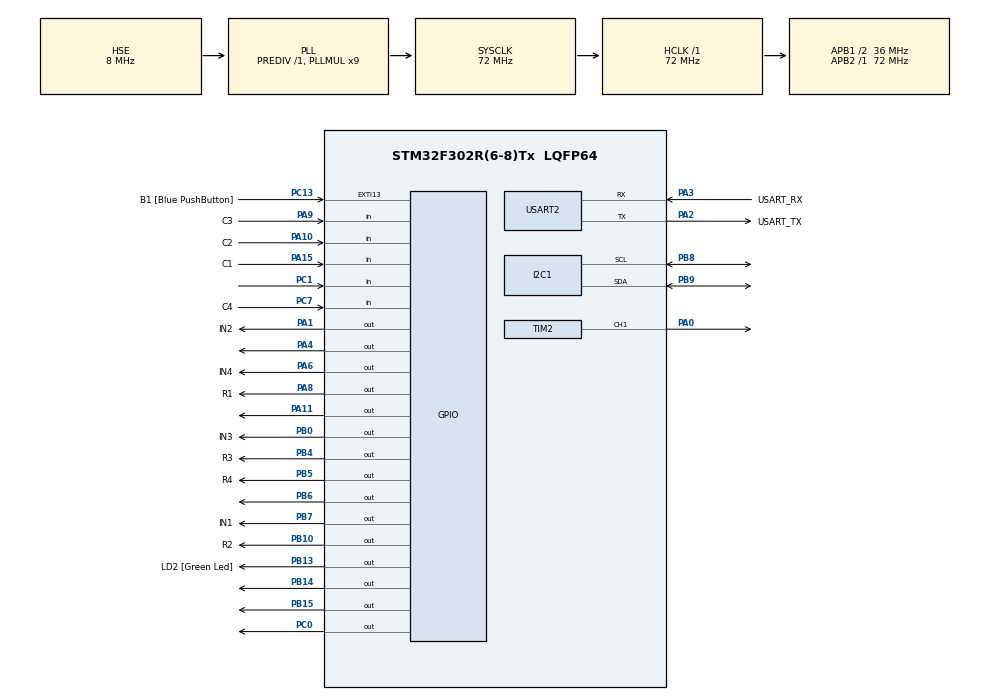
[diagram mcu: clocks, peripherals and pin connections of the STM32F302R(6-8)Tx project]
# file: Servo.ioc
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Mcu.Family=STM32F3
Mcu.Name=STM32F302R(6-8)Tx
Mcu.Package=LQFP64
NVIC.PriorityGroup=NVIC_PRIORITYGROUP_0
NVIC.TIM1_BRK_TIM15_IRQn=true\:0\:0\:false\:false\:true\:true\:true\:true
NVIC.TIM1_UP_TIM16_IRQn=true\:0\:0\:false\:false\:true\:true\:true\:true
NVIC.TIM2_IRQn=true\:0\:0\:false\:false\:true\:true\:true\:true
PA0.Signal=S_TIM2_CH1_ETR
PA1.GPIO_Label=IN2
PA1.Signal=GPIO_Output
PA10.GPIO_Label=C2
PA10.GPIO_PuPd=GPIO_PULLUP
PA10.Signal=GPIO_Input
PA11.Signal=GPIO_Output
PA13.GPIO_Label=TMS
PA13.Mode=Serial_Wire
PA13.Signal=SYS_JTMS-SWDIO
PA14.GPIO_Label=TCK
PA14.Mode=Serial_Wire
PA14.Signal=SYS_JTCK-SWCLK
PA15.GPIO_Label=C1
PA15.GPIO_PuPd=GPIO_PULLUP
PA15.Signal=GPIO_Input
PA2.GPIO_Label=USART_TX
PA2.GPIO_Mode=GPIO_MODE_AF_PP
PA2.GPIO_PuPd=GPIO_NOPULL
PA2.GPIO_Speed=GPIO_SPEED_FREQ_LOW
PA2.Mode=Asynchronous
PA2.Signal=USART2_TX
PA3.GPIO_Label=USART_RX
PA3.GPIO_Mode=GPIO_MODE_AF_PP
PA3.GPIO_PuPd=GPIO_NOPULL
PA3.GPIO_Speed=GPIO_SPEED_FREQ_LOW
PA3.Mode=Asynchronous
PA3.Signal=USART2_RX
PA4.Signal=GPIO_Output
PA6.GPIO_Label=IN4
PA6.Signal=GPIO_Output
PA8.GPIO_Label=R1
PA8.Signal=GPIO_Output
PA9.GPIO_Label=C3
PA9.GPIO_PuPd=GPIO_PULLUP
PA9.Signal=GPIO_Input
PB0.GPIO_Label=IN3
PB0.Signal=GPIO_Output
PB10.GPIO_Label=R2
PB10.Signal=GPIO_Output
PB13.GPIO_Label=LD2 [Green Led]
PB13.Signal=GPIO_Output
PB14.Signal=GPIO_Output
PB15.Signal=GPIO_Output
PB3.GPIO_Label=SWO
PB3.Mode=Trace_Asynchronous_SW
PB3.Signal=SYS_JTDO-TRACESWO
PB4.GPIO_Label=R3
PB4.Signal=GPIO_Output
PB5.GPIO_Label=R4
PB5.Signal=GPIO_Output
PB6.Signal=GPIO_Output
PB7.GPIO_Label=IN1
PB7.Signal=GPIO_Output
PB8.Mode=I2C
PB8.Signal=I2C1_SCL
PB9.Mode=I2C
PB9.Signal=I2C1_SDA
PC0.Signal=GPIO_Output
PC1.Signal=GPIO_Input
PC13.GPIO_Label=B1 [Blue PushButton]
PC13.GPIO_ModeDefaultEXTI=GPIO_MODE_IT_FALLING
PC13.Signal=GPXTI13
PC14\ -\ OSC32_IN.Mode=LSE-External-Oscillator
PC14\ -\ OSC32_IN.Signal=RCC_OSC32_IN
PC15\ -\ OSC32_OUT.Mode=LSE-External-Oscillator
PC15\ -\ OSC32_OUT.Signal=RCC_OSC32_OUT
PC7.GPIO_Label=C4
PC7.GPIO_PuPd=GPIO_PULLUP
PC7.Signal=GPIO_Input
PF0-OSC_IN.Mode=HSE-External-Clock-Source
PF0-OSC_IN.Signal=RCC_OSC_IN
PF1-OSC_OUT.Signal=RCC_OSC_OUT
ProjectManager.HeapSize=0x200
ProjectManager.StackSize=0x400
ProjectManager.TargetToolchain=STM32CubeIDE
RCC.AHBFreq_Value=72000000
RCC.APB1CLKDivider=RCC_HCLK_DIV2
RCC.APB1Freq_Value=36000000
RCC.APB1TimFreq_Value=72000000
RCC.APB2Freq_Value=72000000
RCC.APB2TimFreq_Value=72000000
RCC.CortexFreq_Value=72000000
RCC.HCLKFreq_Value=72000000
RCC.HSE_VALUE=8000000
RCC.HSI_VALUE=8000000
RCC.PLLM=8
RCC.PLLMUL=RCC_PLL_MUL9
RCC.PLLN=336
RCC.PLLP=RCC_PLLP_DIV4
RCC.PLLQ=7
RCC.PLLSourceVirtual=RCC_PLLSOURCE_HSE
RCC.SYSCLKFreq_VALUE=72000000
RCC.SYSCLKSourceVirtual=RCC_SYSCLKSOURCE_PLLCLK
RCC.USBFreq_Value=72000000
SH.S_TIM2_CH1_ETR.0=TIM2_CH1,PWM Generation1 CH1
TIM1.Prescaler=71
TIM15.Period=7000
TIM15.Prescaler=72-1
TIM2.Channel-PWM\ Generation1\ CH1=TIM_CHANNEL_1
TIM2.Period=20000
TIM2.Prescaler=72-1
TIM2.Pulse-PWM\ Generation1\ CH1=500
USART2.VirtualMode-Asynchronous=VM_ASYNC
VP_TIM15_VS_ClockSourceINT.Mode=Internal
VP_TIM1_VS_ClockSourceINT.Mode=Internal
VP_TIM2_VS_ClockSourceINT.Mode=Internal
board=NUCLEO-F302R8

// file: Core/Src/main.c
/* USER CODE BEGIN Header */
/**
 ******************************************************************************
 * @file           : main.c
 * @brief          : Main program body
 ******************************************************************************
 * @attention
 *
 * Copyright (c) 2023 STMicroelectronics.
 * All rights reserved.
 *
 * This software is licensed under terms that can be found in the LICENSE file
 * in the root directory of this software component.
 * If no LICENSE file comes with this software, it is provided AS-IS.
 *
 ******************************************************************************
 */
/*****************************************
 *  Nombre: Angel Gabrir Segura V.        *
 *                                        *
 *  Matricula: 2021-0311                  *
 *                                        *
 *  Primer parcial                       *
 *                                        */
/* USER CODE END Header */
#include "main.h"

/* USER CODE BEGIN Includes */
#include "i2c-lcd.h"
#include "max_matrix_stm32.h"
#include "keypad_4x4.h"
#include "stdio.h"
#include "stdlib.h"
#include "StepMotor.h"
#include "Servo.h"

/* USER CODE END Includes */

/* USER CODE BEGIN PTD */
//#define SERVO_TIMER &htim2
//#define SERVO_CHANNEL TIM_CHANNEL_1
/* USER CODE END PTD */

I2C_HandleTypeDef hi2c1;

TIM_HandleTypeDef htim1;
TIM_HandleTypeDef htim2;
TIM_HandleTypeDef htim15;

UART_HandleTypeDef huart2;

/* USER CODE BEGIN PV */
volatile uint32_t periodCount = 0; //////////////
//uint32_t servoDelay = 0; ///////////////////////
uint32_t stepperDelay = 0; /////////////////////

char key;
char keypad;
#define TRIG_PIN GPIO_PIN_0
#define TRIG_PORT GPIOC
#define ECHO_PIN GPIO_PIN_1
#define ECHO_PORT GPIOC
uint32_t pMillis;
uint32_t Value1 = 0;
uint32_t Value2 = 0;
uint16_t Distance = 0;  // cm
char strCopy[15];
uint8_t change = 0;
/* USER CODE END PV */

void SystemClock_Config(void);
static void MX_GPIO_Init(void);
static void MX_USART2_UART_Init(void);
static void MX_I2C1_Init(void);
static void MX_TIM1_Init(void);
static void MX_TIM2_Init(void);
static void MX_TIM15_Init(void);

/* USER CODE BEGIN 0 */
void delay(uint16_t us) {
	__HAL_TIM_SET_COUNTER(&htim1, 0);

	while (__HAL_TIM_GET_COUNTER(&htim1) < us)
		;
}

#define stepsperrev 4096

void HAL_TIM_PeriodElapsedCallback(TIM_HandleTypeDef *htim) {
	if (htim->Instance == TIM1) {

		HAL_GPIO_TogglePin(GPIOB, GPIO_PIN_13);

	}

	if (htim->Instance == TIM1) {

			HAL_GPIO_TogglePin(GPIOA, GPIO_PIN_4);

		}
	if (htim->Instance == TIM15) {

			HAL_GPIO_TogglePin(GPIOA, GPIO_PIN_11);

		}

}
/* USER CODE END 0 */

int main(void)
{

  /* MCU Configuration--------------------------------------------------------*/

  /* Reset of all peripherals, Initializes the Flash interface and the Systick. */
  HAL_Init();

  /* USER CODE BEGIN Init */
	//Servo servo;
  /* USER CODE END Init */

  /* Configure the system clock */
  SystemClock_Config();

  /* Initialize all configured peripherals */
  MX_GPIO_Init();
  MX_USART2_UART_Init();
  MX_I2C1_Init();
  MX_TIM1_Init();
  MX_TIM2_Init();
  MX_TIM15_Init();
  /* USER CODE BEGIN 2 */
	HAL_TIM_PWM_Start(&htim2, TIM_CHANNEL_1);
	//HAL_TIM_Base_Start(&htim1);
	HAL_TIM_Base_Start_IT(&htim2);
	HAL_TIM_Base_Start_IT(&htim15);
	HAL_TIM_Base_Start_IT(&htim1);
	HAL_GPIO_WritePin(TRIG_PORT, TRIG_PIN, GPIO_PIN_RESET); // pull the TRIG pin low
	lcd_init();
	max_init(0x02);
	//Servo_Init(&servo, &htim2, TIM_CHANNEL_1);
  /* USER CODE END 2 */

  /* Infinite loop */
  /* USER CODE BEGIN WHILE */

	write_char(2, 1);
	lcd_put_cur(0, 0);
	lcd_send_string("---BIENVENIDO---");
	HAL_Delay(2000);
	max_clear();
	lcd_clear();
	write_char(63, 1);
	lcd_put_cur(0, 0);
	lcd_send_string("  SEL. OPCION  ");
	lcd_put_cur(1, 0);
	lcd_send_string("   SIGUIENTE   ");
	HAL_Delay(2000);
	lcd_clear();
	max_clear();
	lcd_put_cur(0, 0);
	lcd_send_string("  (A)SENSOR   ");
	lcd_put_cur(1, 0);
	lcd_send_string("(B)SERVO (C)M.PP");
	scroll_string((uint8_t*) "A B C  ", 100, left);

	while (1) {

		char keypad_key = Keypad_Get_Char();
		if (keypad_key == 'A') {
			lcd_clear();
			max_clear();
			write_char(65, 1);
			HAL_Delay(200);
			while (keypad_key == 'A') {
				HAL_GPIO_WritePin(TRIG_PORT, TRIG_PIN, GPIO_PIN_SET); // pull the TRIG pin HIGH
				__HAL_TIM_SET_COUNTER(&htim1, 0);
				while (__HAL_TIM_GET_COUNTER (&htim1) < 10)
					; // wait for 10 us
				HAL_GPIO_WritePin(TRIG_PORT, TRIG_PIN, GPIO_PIN_RESET); // pull the TRIG pin low

				pMillis = HAL_GetTick(); // used this to avoid infinite while loop  (for timeout)
				//wait for the echo pin to go high
				while (!(HAL_GPIO_ReadPin(ECHO_PORT, ECHO_PIN))
						&& pMillis + 10 > HAL_GetTick())
					;
				Value1 = __HAL_TIM_GET_COUNTER(&htim1);

				pMillis = HAL_GetTick();// used this to avoid infinite while loop (for timeout)
				// wait for the echo pin to go low
				while ((HAL_GPIO_ReadPin(ECHO_PORT, ECHO_PIN))
						&& pMillis + 50 > HAL_GetTick())
					;

				Value2 = __HAL_TIM_GET_COUNTER(&htim1);

				lcd_put_cur(0, 0);
				lcd_send_string("Dist= ");
				Distance = (Value2 - Value1) * 0.034 / 2;

				lcd_send_string("Dist= ");
				Distance = (Value2 - Value1) * 0.034 / 2;
				// Limpia el espacio para la distancia
				lcd_put_cur(0, 6);// Establece el cursor en la columna 7, fila 0
				lcd_send_data(' ');					// Borra el espacio anterior

				// Muestra los dígitos de la distancia en el lugar deseado
				lcd_put_cur(0, 6);// Establece el cursor en la columna 7, fila 0
				lcd_send_data((Distance / 100) + 48);				// 100th pos
				lcd_send_data(((Distance / 10) % 10) + 48);			// 10th pos
				lcd_send_data((Distance % 10) + 48);				// 1st pos
				lcd_send_string(" cm");
				//HAL_Delay(800);

				key = Distance;
				char keyString[5];// Variable para almacenar el valor de key como cadena de caracteres
				static int previousKey = 0;	// Variable para almacenar el valor anterior de key
				//uint8_t change = 0;

				if (key < previousKey) {
					change = 0;
					//stepper_step_angle(90, change, 13);
					write_char(26, 1);
					HAL_Delay(500);
					max_clear();
					//lcd_put_cur(1, 0);
					//lcd_send_string("Disminuye");
					//HAL_Delay(1000);
				} else if (key > previousKey) {
					change = 1;
					//stepper_step_angle(90, change, 13);
					write_char(27, 1);
					HAL_Delay(500);
					max_clear();
					//lcd_put_cur(1, 0);
					//lcd_send_string("Aumenta");
					//HAL_Delay(1000);
				}
				static int currentAngle = 0; // Variable para almacenar la posición actual del stepper

					if (Distance != currentAngle) {
						int stepsToMove = abs(Distance - currentAngle);
						stepperDelay = stepsToMove;
						stepper_step_angle(stepsToMove, change, 13);
						currentAngle = Distance;

					}
					int mov = Distance * 3;
					htim2.Instance->CCR1 = 500 + (mov * 11.11111);

				snprintf(keyString, sizeof(keyString), "%d", key); // Convierte el valor de key a una cadena de caracteres
				lcd_clear(); // Borra la pantalla
				lcd_send_string(keyString); // Muestra el valor de key en la pantalla
				previousKey = key; // Actualiza el valor anterior de key

				if (Keypad_Get_Char() == '#') {
					lcd_clear();
					max_clear();
					break; // Exit the while loop and go back to the beginning
				}
			}
			lcd_put_cur(0, 0);
			lcd_send_string("  (A)SENSOR   ");
			lcd_put_cur(1, 0);
			lcd_send_string("(B)SERVO (C)M.PP");
		} else if (keypad_key == 'B') {
			lcd_clear();
			max_clear();
			write_char(66, 1);
			HAL_Delay(200);
			while (keypad_key == 'B') {
				lcd_put_cur(0, 0);
				lcd_send_string("---INT. ANGULO--");
				lcd_put_cur(1, 0);
				lcd_send_string("GRADOS:");
				write_char(132, 1);

				char digits[4]; // Variable para almacenar los dígitos ingresados (3 dígitos + el carácter nulo)
				int digitCount = 0; // Contador de dígitos

				while (digitCount < 3) {
					keypad = Keypad_Get_Char();

					if (keypad >= '0' && keypad <= '9') {
						digits[digitCount] = keypad;
						digitCount++;
						lcd_send_data(keypad);
					}

					// Si se presiona el botón 'D', se borra la pantalla LCD y se establece el ángulo del servo en 0 grados
					if (keypad == 'D') {
						lcd_clear();
						htim2.Instance->CCR1 = 500;  // 0.5ms = 0 grados
						break;
					}

					// Si se presiona el botón '#', se sale de la selección y vuelve al inicio
					if (keypad == '#') {
						lcd_clear();
						keypad_key = ' '; // Reiniciar la opción seleccionada para volver al inicio
						max_clear();
						break;

					}

				}

				if (digitCount == 3) {
					digits[digitCount] = '\0'; // Agregar el carácter nulo al final de los dígitos para formar una cadena válida
					int angle = atoi(digits); // Convertir los dígitos a un entero

					// Validar el rango del ángulo (por ejemplo, asegurarse de que esté entre 0 y 180 grados)
					if (angle >= 0 && angle <= 180) {
						int servoAngle = 500 + angle * 11.1111; // Calcular el valor correspondiente del ángulo para el servo
						htim2.Instance->CCR1 = servoAngle;
						HAL_Delay(3000);
						lcd_clear();
						lcd_put_cur(0, 0);
						lcd_send_string("---INT. ANGULO--");
						lcd_put_cur(1, 0);
						lcd_send_string("GRADOS:");
						write_char(132, 1);
						max_clear();

					} else {
						max_clear();
						lcd_clear();
						write_char(130, 1);
						lcd_put_cur(0, 0);
						lcd_send_string("Angulo fuera de ");
						lcd_put_cur(1, 0);
						lcd_send_string("rango ");
						HAL_Delay(2000);
						max_clear();
						lcd_put_cur(0, 0);
						lcd_send_string("---INT. ANGULO--");
						lcd_put_cur(1, 0);
						lcd_send_string("GRADOS:");
						write_char(132, 1);
						// Angulo fuera de rango, mostrar mensaje de error o tomar alguna acción adecuada

					}
				}
			}
			lcd_put_cur(0, 0);
			lcd_send_string("  (A)SENSOR   ");
			lcd_put_cur(1, 0);
			lcd_send_string("(B)SERVO (C)M.PP");

		} else if (keypad_key == 'C') {
			lcd_clear();
			max_clear();
			write_char(80, 1);
			HAL_Delay(200);
			while (keypad_key == 'C') {
				lcd_put_cur(0, 0);
				lcd_send_string("---INT. PASOS--");
				lcd_put_cur(1, 0);
				lcd_send_string("PASOS:");
				write_char(80, 1);

				char digits[4]; // Variable para almacenar los dígitos ingresados (3 dígitos + el carácter nulo)
				int digitCount = 0; // Contador de dígitos
				int exitFlag = 0; // Bandera para indicar si se debe salir completamente

				while (digitCount < 3) {
					keypad = Keypad_Get_Char();

					if (keypad >= '0' && keypad <= '9') {
						digits[digitCount] = keypad;
						digitCount++;
						lcd_send_data(keypad);

					}

					// Si se presiona el botón '#', se sale de la selección y vuelve al inicio
					if (keypad == '#') {
						lcd_clear();
						keypad_key = ' '; // Reiniciar la opción seleccionada para volver al inicio
						max_clear();
						exitFlag = 1; // Activar la bandera para salir completamente
						break;

					}

					// Verificar si se presionó la tecla D para eliminar el último dígito ingresado
					if (keypad == 'D') {
						if (digitCount > 0) {
							digitCount--; // Decrementar el índice de num1 para eliminar el último dígito
							lcd_send_cmd(0x10); // Mover el cursor a la posición anterior en la pantalla LCD
							lcd_send_data(' '); // Borrar el dígito anterior en la pantalla LCD
							lcd_send_cmd(0x10); // Mover el cursor nuevamente a la posición anterior

						}
					}
				}
				if (exitFlag) {
					break; // Salir completamente del bucle while (keypad_key == 'C')
				}

				lcd_put_cur(0, 0);
				lcd_send_string("  (A)SENSOR   ");
				lcd_put_cur(1, 0);
				lcd_send_string("(B)SERVO (C)M.PP");
				if (digitCount == 3) {
					digits[digitCount] = '\0'; // Agregar el carácter nulo al final de los dígitos para formar una cadena válida
					lcd_clear();
					lcd_put_cur(0, 0);
					lcd_send_string("Direccion:");
					lcd_put_cur(1, 0);
					lcd_send_string("0 - CW, 1 - CCW");
				}

				int direction = -1; // Valor inicial inválido para la dirección
				while (direction != 0 && direction != 1) {
					keypad = Keypad_Get_Char();

					if (keypad == '0' || keypad == '1') {
						direction = keypad - '0'; // Convertir el carácter a un entero (0 o 1)
						lcd_clear();
						lcd_put_cur(0, 0);
						lcd_send_string("MOTOR EN MOV.");

					}

					// Si se presiona el botón '#', se sale de la selección y vuelve al inicio
					if (keypad == '#') {
						lcd_clear();
						keypad_key = ' '; // Reiniciar la opción seleccionada para volver al inicio
						max_clear();
						exitFlag = 1; // Activar la bandera para salir completamente
						break;
					}
				}
				if (exitFlag) {
					break; // Salir completamente del bucle while (keypad_key == 'C')
				}
				int stepsToMove = atoi(digits); // Convertir los dígitos a un entero
				if (direction == 0) {
					max_clear();
					write_char(26, 1);
					// Dirección: CW (sentido de las agujas del reloj)
					// Mover el motor paso a paso en sentido CW aquí
					stepper_step_angle(stepsToMove, 1, 13);
					max_clear();
				} else if (direction == 1) {
					max_clear();
					write_char(27, 1);
					// Dirección: CCW (sentido contrario a las agujas del reloj)
					// Mover el motor paso a paso en sentido CCW aquí
					stepper_step_angle(stepsToMove, 0, 13);

					max_clear();
				}

			}
			lcd_put_cur(0, 0);
			lcd_send_string("  (A)SENSOR   ");
			lcd_put_cur(1, 0);
			lcd_send_string("(B)SERVO (C)M.PP");

		} else if (keypad_key != 0) {
			for (int i = 0; i < 1; i++) {
			}
			lcd_clear();
			lcd_enviar("Opcion invalida  ", 0, 0);
			lcd_send_string(&key);
			HAL_Delay(1000);
			lcd_clear();
			lcd_put_cur(0, 0);
			lcd_send_string("  (A)SENSOR   ");
			lcd_put_cur(1, 0);
			lcd_send_string("(B)SERVO (C)M.PP");
		}
    /* USER CODE END WHILE */

	}
}

void SystemClock_Config(void)
{
  RCC_OscInitTypeDef RCC_OscInitStruct = {0};
  RCC_ClkInitTypeDef RCC_ClkInitStruct = {0};
  RCC_PeriphCLKInitTypeDef PeriphClkInit = {0};

  /** Initializes the RCC Oscillators according to the specified parameters
  * in the RCC_OscInitTypeDef structure.
  */
  RCC_OscInitStruct.OscillatorType = RCC_OSCILLATORTYPE_HSI|RCC_OSCILLATORTYPE_HSE;
  RCC_OscInitStruct.HSEState = RCC_HSE_BYPASS;
  RCC_OscInitStruct.HSEPredivValue = RCC_HSE_PREDIV_DIV1;
  RCC_OscInitStruct.HSIState = RCC_HSI_ON;
  RCC_OscInitStruct.HSICalibrationValue = RCC_HSICALIBRATION_DEFAULT;
  RCC_OscInitStruct.PLL.PLLState = RCC_PLL_ON;
  RCC_OscInitStruct.PLL.PLLSource = RCC_PLLSOURCE_HSE;
  RCC_OscInitStruct.PLL.PLLMUL = RCC_PLL_MUL9;
  if (HAL_RCC_OscConfig(&RCC_OscInitStruct) != HAL_OK)
  {
    Error_Handler();
  }

  /** Initializes the CPU, AHB and APB buses clocks
  */
  RCC_ClkInitStruct.ClockType = RCC_CLOCKTYPE_HCLK|RCC_CLOCKTYPE_SYSCLK
                              |RCC_CLOCKTYPE_PCLK1|RCC_CLOCKTYPE_PCLK2;
  RCC_ClkInitStruct.SYSCLKSource = RCC_SYSCLKSOURCE_PLLCLK;
  RCC_ClkInitStruct.AHBCLKDivider = RCC_SYSCLK_DIV1;
  RCC_ClkInitStruct.APB1CLKDivider = RCC_HCLK_DIV2;
  RCC_ClkInitStruct.APB2CLKDivider = RCC_HCLK_DIV1;

  if (HAL_RCC_ClockConfig(&RCC_ClkInitStruct, FLASH_LATENCY_2) != HAL_OK)
  {
    Error_Handler();
  }
  PeriphClkInit.PeriphClockSelection = RCC_PERIPHCLK_I2C1|RCC_PERIPHCLK_TIM1
                              |RCC_PERIPHCLK_TIM15;
  PeriphClkInit.I2c1ClockSelection = RCC_I2C1CLKSOURCE_HSI;
  PeriphClkInit.Tim1ClockSelection = RCC_TIM1CLK_HCLK;
  PeriphClkInit.Tim15ClockSelection = RCC_TIM15CLK_HCLK;
  if (HAL_RCCEx_PeriphCLKConfig(&PeriphClkInit) != HAL_OK)
  {
    Error_Handler();
  }
}

static void MX_I2C1_Init(void)
{

  hi2c1.Instance = I2C1;
  hi2c1.Init.Timing = 0x2000090E;
  hi2c1.Init.OwnAddress1 = 0;
  hi2c1.Init.AddressingMode = I2C_ADDRESSINGMODE_7BIT;
  hi2c1.Init.DualAddressMode = I2C_DUALADDRESS_DISABLE;
  hi2c1.Init.OwnAddress2 = 0;
  hi2c1.Init.OwnAddress2Masks = I2C_OA2_NOMASK;
  hi2c1.Init.GeneralCallMode = I2C_GENERALCALL_DISABLE;
  hi2c1.Init.NoStretchMode = I2C_NOSTRETCH_DISABLE;
  if (HAL_I2C_Init(&hi2c1) != HAL_OK)
  {
    Error_Handler();
  }

  /** Configure Analogue filter
  */
  if (HAL_I2CEx_ConfigAnalogFilter(&hi2c1, I2C_ANALOGFILTER_ENABLE) != HAL_OK)
  {
    Error_Handler();
  }

  /** Configure Digital filter
  */
  if (HAL_I2CEx_ConfigDigitalFilter(&hi2c1, 0) != HAL_OK)
  {
    Error_Handler();
  }

}

static void MX_TIM1_Init(void)
{

  TIM_ClockConfigTypeDef sClockSourceConfig = {0};
  TIM_MasterConfigTypeDef sMasterConfig = {0};

  htim1.Instance = TIM1;
  htim1.Init.Prescaler = 71;
  htim1.Init.CounterMode = TIM_COUNTERMODE_UP;
  htim1.Init.Period = 65535;
  htim1.Init.ClockDivision = TIM_CLOCKDIVISION_DIV1;
  htim1.Init.RepetitionCounter = 0;
  htim1.Init.AutoReloadPreload = TIM_AUTORELOAD_PRELOAD_DISABLE;
  if (HAL_TIM_Base_Init(&htim1) != HAL_OK)
  {
    Error_Handler();
  }
  sClockSourceConfig.ClockSource = TIM_CLOCKSOURCE_INTERNAL;
  if (HAL_TIM_ConfigClockSource(&htim1, &sClockSourceConfig) != HAL_OK)
  {
    Error_Handler();
  }
  sMasterConfig.MasterOutputTrigger = TIM_TRGO_RESET;
  sMasterConfig.MasterOutputTrigger2 = TIM_TRGO2_RESET;
  sMasterConfig.MasterSlaveMode = TIM_MASTERSLAVEMODE_DISABLE;
  if (HAL_TIMEx_MasterConfigSynchronization(&htim1, &sMasterConfig) != HAL_OK)
  {
    Error_Handler();
  }

}

static void MX_TIM2_Init(void)
{

  TIM_ClockConfigTypeDef sClockSourceConfig = {0};
  TIM_MasterConfigTypeDef sMasterConfig = {0};
  TIM_OC_InitTypeDef sConfigOC = {0};

  htim2.Instance = TIM2;
  htim2.Init.Prescaler = 72-1;
  htim2.Init.CounterMode = TIM_COUNTERMODE_UP;
  htim2.Init.Period = 20000;
  htim2.Init.ClockDivision = TIM_CLOCKDIVISION_DIV1;
  htim2.Init.AutoReloadPreload = TIM_AUTORELOAD_PRELOAD_DISABLE;
  if (HAL_TIM_Base_Init(&htim2) != HAL_OK)
  {
    Error_Handler();
  }
  sClockSourceConfig.ClockSource = TIM_CLOCKSOURCE_INTERNAL;
  if (HAL_TIM_ConfigClockSource(&htim2, &sClockSourceConfig) != HAL_OK)
  {
    Error_Handler();
  }
  if (HAL_TIM_PWM_Init(&htim2) != HAL_OK)
  {
    Error_Handler();
  }
  sMasterConfig.MasterOutputTrigger = TIM_TRGO_RESET;
  sMasterConfig.MasterSlaveMode = TIM_MASTERSLAVEMODE_DISABLE;
  if (HAL_TIMEx_MasterConfigSynchronization(&htim2, &sMasterConfig) != HAL_OK)
  {
    Error_Handler();
  }
  sConfigOC.OCMode = TIM_OCMODE_PWM1;
  sConfigOC.Pulse = 500;
  sConfigOC.OCPolarity = TIM_OCPOLARITY_HIGH;
  sConfigOC.OCFastMode = TIM_OCFAST_DISABLE;
  if (HAL_TIM_PWM_ConfigChannel(&htim2, &sConfigOC, TIM_CHANNEL_1) != HAL_OK)
  {
    Error_Handler();
  }
  HAL_TIM_MspPostInit(&htim2);

}

static void MX_TIM15_Init(void)
{

  TIM_ClockConfigTypeDef sClockSourceConfig = {0};
  TIM_MasterConfigTypeDef sMasterConfig = {0};

  htim15.Instance = TIM15;
  htim15.Init.Prescaler = 72-1;
  htim15.Init.CounterMode = TIM_COUNTERMODE_UP;
  htim15.Init.Period = 7000;
  htim15.Init.ClockDivision = TIM_CLOCKDIVISION_DIV1;
  htim15.Init.RepetitionCounter = 0;
  htim15.Init.AutoReloadPreload = TIM_AUTORELOAD_PRELOAD_DISABLE;
  if (HAL_TIM_Base_Init(&htim15) != HAL_OK)
  {
    Error_Handler();
  }
  sClockSourceConfig.ClockSource = TIM_CLOCKSOURCE_INTERNAL;
  if (HAL_TIM_ConfigClockSource(&htim15, &sClockSourceConfig) != HAL_OK)
  {
    Error_Handler();
  }
  sMasterConfig.MasterOutputTrigger = TIM_TRGO_RESET;
  sMasterConfig.MasterSlaveMode = TIM_MASTERSLAVEMODE_DISABLE;
  if (HAL_TIMEx_MasterConfigSynchronization(&htim15, &sMasterConfig) != HAL_OK)
  {
    Error_Handler();
  }

}

static void MX_USART2_UART_Init(void)
{

  huart2.Instance = USART2;
  huart2.Init.BaudRate = 38400;
  huart2.Init.WordLength = UART_WORDLENGTH_8B;
  huart2.Init.StopBits = UART_STOPBITS_1;
  huart2.Init.Parity = UART_PARITY_NONE;
  huart2.Init.Mode = UART_MODE_TX_RX;
  huart2.Init.HwFlowCtl = UART_HWCONTROL_NONE;
  huart2.Init.OverSampling = UART_OVERSAMPLING_16;
  huart2.Init.OneBitSampling = UART_ONE_BIT_SAMPLE_DISABLE;
  huart2.AdvancedInit.AdvFeatureInit = UART_ADVFEATURE_NO_INIT;
  if (HAL_UART_Init(&huart2) != HAL_OK)
  {
    Error_Handler();
  }

}

static void MX_GPIO_Init(void)
{
  GPIO_InitTypeDef GPIO_InitStruct = {0};

  /* GPIO Ports Clock Enable */
  __HAL_RCC_GPIOC_CLK_ENABLE();
  __HAL_RCC_GPIOF_CLK_ENABLE();
  __HAL_RCC_GPIOA_CLK_ENABLE();
  __HAL_RCC_GPIOB_CLK_ENABLE();

  /*Configure GPIO pin Output Level */
  HAL_GPIO_WritePin(GPIOC, GPIO_PIN_0, GPIO_PIN_RESET);

  /*Configure GPIO pin Output Level */
  HAL_GPIO_WritePin(GPIOA, IN2_Pin|GPIO_PIN_4|IN4_Pin|R1_Pin
                          |GPIO_PIN_11, GPIO_PIN_RESET);

  /*Configure GPIO pin Output Level */
  HAL_GPIO_WritePin(GPIOB, IN3_Pin|R2_Pin|LD2_Pin|GPIO_PIN_14
                          |GPIO_PIN_15|R3_Pin|R4_Pin|GPIO_PIN_6
                          |IN1_Pin, GPIO_PIN_RESET);

  /*Configure GPIO pin : B1_Pin */
  GPIO_InitStruct.Pin = B1_Pin;
  GPIO_InitStruct.Mode = GPIO_MODE_IT_FALLING;
  GPIO_InitStruct.Pull = GPIO_NOPULL;
  HAL_GPIO_Init(B1_GPIO_Port, &GPIO_InitStruct);

  /*Configure GPIO pin : PC0 */
  GPIO_InitStruct.Pin = GPIO_PIN_0;
  GPIO_InitStruct.Mode = GPIO_MODE_OUTPUT_PP;
  GPIO_InitStruct.Pull = GPIO_NOPULL;
  GPIO_InitStruct.Speed = GPIO_SPEED_FREQ_LOW;
  HAL_GPIO_Init(GPIOC, &GPIO_InitStruct);

  /*Configure GPIO pin : PC1 */
  GPIO_InitStruct.Pin = GPIO_PIN_1;
  GPIO_InitStruct.Mode = GPIO_MODE_INPUT;
  GPIO_InitStruct.Pull = GPIO_NOPULL;
  HAL_GPIO_Init(GPIOC, &GPIO_InitStruct);

  /*Configure GPIO pins : IN2_Pin PA4 IN4_Pin R1_Pin
                           PA11 */
  GPIO_InitStruct.Pin = IN2_Pin|GPIO_PIN_4|IN4_Pin|R1_Pin
                          |GPIO_PIN_11;
  GPIO_InitStruct.Mode = GPIO_MODE_OUTPUT_PP;
  GPIO_InitStruct.Pull = GPIO_NOPULL;
  GPIO_InitStruct.Speed = GPIO_SPEED_FREQ_LOW;
  HAL_GPIO_Init(GPIOA, &GPIO_InitStruct);

  /*Configure GPIO pins : IN3_Pin R2_Pin LD2_Pin PB14
                           PB15 R3_Pin R4_Pin PB6
                           IN1_Pin */
  GPIO_InitStruct.Pin = IN3_Pin|R2_Pin|LD2_Pin|GPIO_PIN_14
                          |GPIO_PIN_15|R3_Pin|R4_Pin|GPIO_PIN_6
                          |IN1_Pin;
  GPIO_InitStruct.Mode = GPIO_MODE_OUTPUT_PP;
  GPIO_InitStruct.Pull = GPIO_NOPULL;
  GPIO_InitStruct.Speed = GPIO_SPEED_FREQ_LOW;
  HAL_GPIO_Init(GPIOB, &GPIO_InitStruct);

  /*Configure GPIO pin : C4_Pin */
  GPIO_InitStruct.Pin = C4_Pin;
  GPIO_InitStruct.Mode = GPIO_MODE_INPUT;
  GPIO_InitStruct.Pull = GPIO_PULLUP;
  HAL_GPIO_Init(C4_GPIO_Port, &GPIO_InitStruct);

  /*Configure GPIO pins : C3_Pin C2_Pin C1_Pin */
  GPIO_InitStruct.Pin = C3_Pin|C2_Pin|C1_Pin;
  GPIO_InitStruct.Mode = GPIO_MODE_INPUT;
  GPIO_InitStruct.Pull = GPIO_PULLUP;
  HAL_GPIO_Init(GPIOA, &GPIO_InitStruct);

}

/* USER CODE BEGIN 4 */

/*
 void HAL_TIM_PeriodElapsedCallback(TIM_HandleTypeDef *htim)
 {
 if (htim->Instance == TIM1)
 {
 keypad_keyY = Keypad_Get_Char(); // Obtén el valor de la tecla del teclado

 if (keypad_keyY == 'B')
 {
 HAL_GPIO_TogglePin(GPIOB, GPIO_PIN_13);
 }

 // Agrega aquí tu código adicional para ejecutar stepper_step_angle() u otras operaciones relacionadas
 }
 }*/
/* USER CODE END 4 */

void Error_Handler(void)
{
	__disable_irq();
	while (1) {
	}
}
